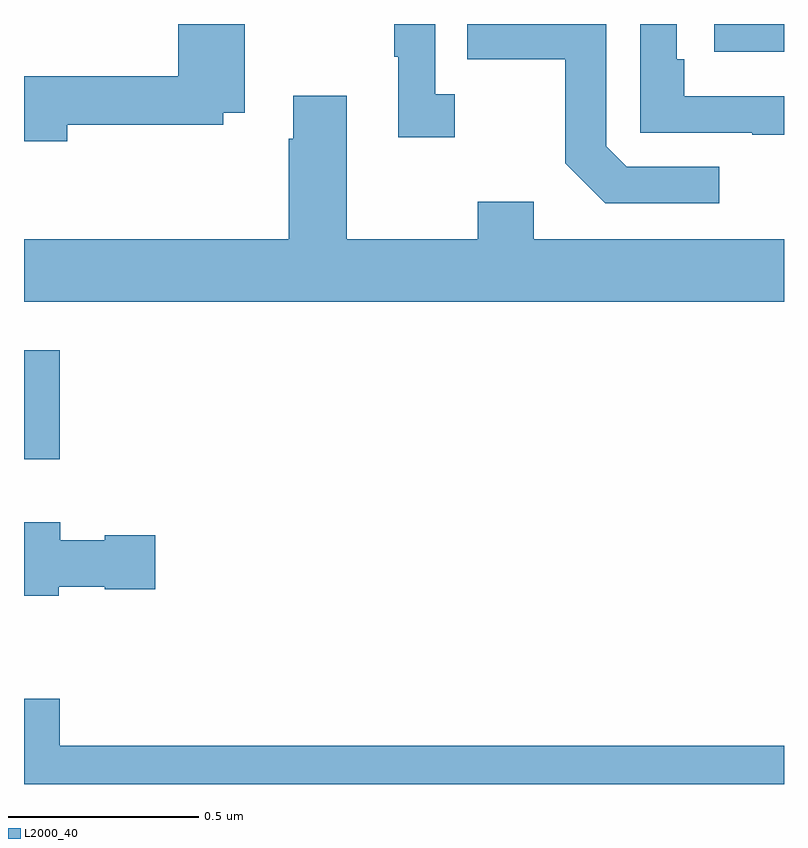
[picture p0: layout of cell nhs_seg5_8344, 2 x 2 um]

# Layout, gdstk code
import gdstk
lib = gdstk.Library(unit=1e-6, precision=1e-09)
def R(c, l, rs):  # rectangles x0, y0, x1, y1
    for r in rs: c.add(gdstk.rectangle(r[:2], r[2:], *l))
def P(c, l, *ps):  # polygons
    for p in ps: c.add(gdstk.Polygon(p, *l))
L2000_40 = (2000, 40)

nhs_seg5_8344 = lib.new_cell('nhs_seg5_8344')
R(nhs_seg5_8344, L2000_40, [(220,881.654,220.094,881.941), (221.817,882.726,222,882.799)])
P(nhs_seg5_8344, L2000_40, [(221.83,882.423),(221.586,882.423),(221.532,882.477),(221.532,882.799),(221.167,882.799),(221.167,882.706),(221.424,882.706),(221.424,882.433),(221.529,882.327),(221.83,882.327)],
  [(222,882.609),(221.738,882.609),(221.738,882.706),(221.718,882.706),(221.718,882.799),(221.622,882.799),(221.622,882.513),(221.917,882.513),(221.917,882.508),(222,882.508)],
  [(221.134,882.614),(221.082,882.614),(221.082,882.799),(220.974,882.799),(220.974,882.713),(220.985,882.713),(220.985,882.501),(221.134,882.501)],
  [(220.114,882.534),(220.524,882.534),(220.524,882.566),(220.581,882.566),(220.581,882.799),(220.406,882.799),(220.406,882.662),(220,882.662),(220,882.491),(220.114,882.491)],
  [(222,882.232),(221.341,882.232),(221.341,882.331),(221.194,882.331),(221.194,882.232),(220.849,882.232),(220.849,882.61),(220.709,882.61),(220.709,882.497),(220.697,882.497),(220.697,882.232),(220,882.232),(220,882.068),(222,882.068)],
  [(220.092,881.318),(220.212,881.318),(220.212,881.311),(220.345,881.311),(220.345,881.453),(220.212,881.453),(220.212,881.44),(220.096,881.44),(220.096,881.488),(220,881.488),(220,881.294),(220.092,881.294)],
  [(222,880.9),(220.094,880.9),(220.094,881.024),(220,881.024),(220,880.799),(222,880.799)])

lib.write_gds('nhs_seg5_8344.gds')
